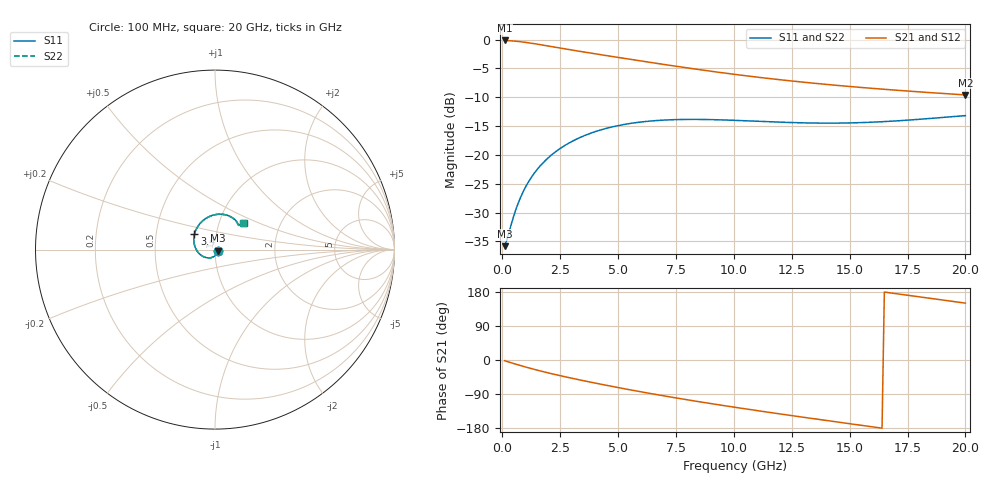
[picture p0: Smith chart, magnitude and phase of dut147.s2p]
! Touchstone file exported from HFSS 2024.1.0
!  File:  C:/UserFiles/LocalFiles/RDL_TSV_Batchsim/temp_RDL_TSV_147_1779431041.aedt
!  Generated:  02:37:18 PM May 22, 2026
!  Design:  RDL_TSV
!  Project:  temp_RDL_TSV_147_1779431041
!  Setup:  Setup1
!  Solution:  Sweep
! Variables:
!  dtsv = 12.35um
!  hbump = 3um
!  htsv = 99.7um
!  ldown = 389.99um
!  lrdl = 367.94um
!  p = 40
!  p1 = 41.51um
!  rhole = 10um
!  subl = 2641.73um
!  t = 450um
!  tdown = 2.68um
!  trdl = 4.46um
!  viad = 10um
!  wdown = 14.77um
!  wrdl = 26.52um
!  xbump = 18um
# GHz S MA R 50.000000
! Terminal data exported
! Port[1] = TM1_1_T1
! Port[2] = TM1_4_T1
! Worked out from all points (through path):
!   200 points, 100 MHz to 20 GHz, reference 50 ohm
!   highest |S21| = -0.14 dB at 100 MHz (marker M1); lowest = -9.6 dB at 20 GHz (marker M2)
!   group delay of S21, straight-line fit = 27.5 ps
!   lowest |S11| = -35.8 dB at 100 MHz (marker M3), VSWR 1.03, Z = 51.5 - j0.589 ohm
!   |S11| at or under -10 dB: start of sweep to end of sweep
!   |S22| runs from -35.8 to -13.2 dB; largest |S21 - S12| = 1.1e-14
!   S11 on the Smith chart (normalised r, x): 100 MHz: 1.03, -0.01; 3.4 GHz: 0.78, +0.14; 20 GHz: 1.31, +0.41
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0.1  0.01618 -20.7  0.9839 -2.0  0.9839 -2.0  0.01618 -20.7
! Gamma 0 0 0 0
! Port Impedance 50 0 50 0
0.2  0.01844 -39.3  0.9821 -3.9  0.9821 -3.9  0.01844 -39.3
0.5  0.02979 -79.6  0.9727 -9.5  0.9727 -9.5  0.0298 -79.6
0.7  0.03874 -98.0  0.9639 -13.1  0.9639 -13.1  0.03875 -97.9
1  0.05247 -119.6  0.9475 -18.4  0.9475 -18.4  0.05246 -119.5
1.3  0.06593 -137.3  0.9283 -23.5  0.9283 -23.5  0.06591 -137.2
1.7  0.08304 -157.3  0.9006 -29.8  0.9006 -29.8  0.08298 -157.3
2.2  0.1029 -178.4  0.8655 -37.2  0.8655 -37.2  0.1027 -178.3
2.8  0.1242 160.6  0.8256 -45.5  0.8256 -45.5  0.124 160.7
3.4  0.1429 143.0  0.7886 -53.3  0.7886 -53.3  0.1426 143.1
3.5  0.1458 140.4  0.7827 -54.6  0.7827 -54.6  0.1454 140.5
4.2  0.1637 123.8  0.7433 -63.2  0.7433 -63.2  0.1632 123.8
5  0.1797 108.0  0.7013 -72.7  0.7013 -72.7  0.179 108.1
5.8  0.1911 95.0  0.6622 -81.9  0.6622 -81.9  0.1903 95.1
6.8  0.1997 81.8  0.617 -92.8  0.617 -92.8  0.1987 81.8
8.4  0.2034 66.1  0.5535 -109.1  0.5535 -109.1  0.2023 66.1
10.1  0.1994 55.2  0.4979 -125.3  0.4979 -125.3  0.1982 55.3
11.7  0.1935 49.2  0.4558 -139.7  0.4558 -139.7  0.1922 49.3
13.4  0.1892 46.2  0.4199 -154.5  0.4199 -154.5  0.188 46.4
15  0.1896 45.4  0.3924 -168.1  0.3924 -168.1  0.1885 45.6
16.7  0.1957 45.3  0.3683 177.6  0.3683 177.6  0.1947 45.5
20  0.2194 43.4  0.3316 150.1  0.3316 150.1  0.2187 43.6
